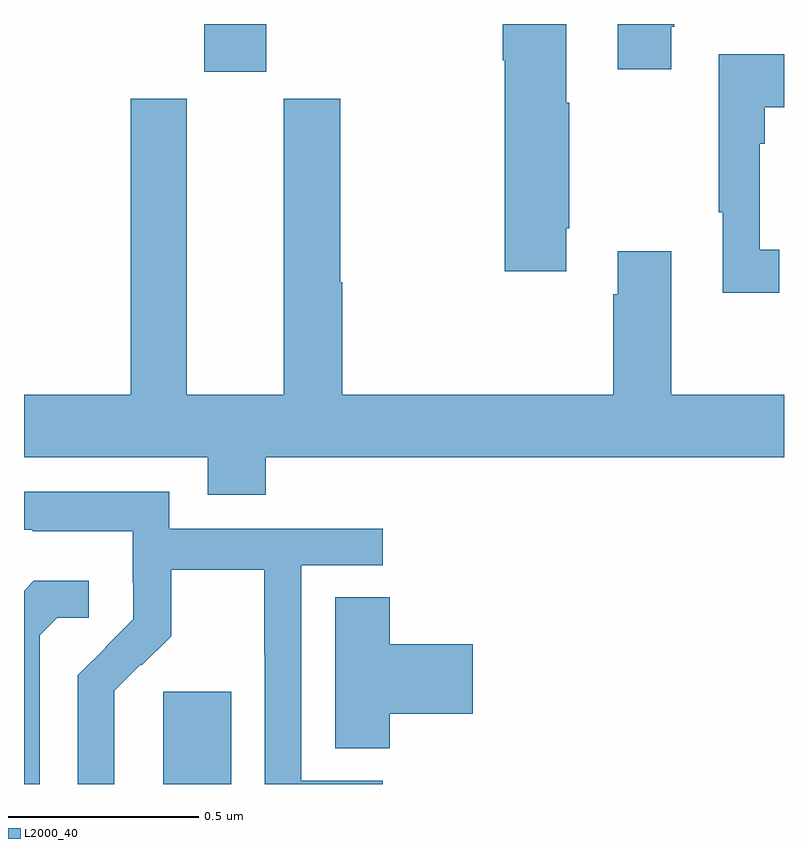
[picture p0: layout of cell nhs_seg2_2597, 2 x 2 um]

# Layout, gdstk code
import gdstk
lib = gdstk.Library(unit=1e-6, precision=1e-09)
def R(c, l, rs):  # rectangles x0, y0, x1, y1
    for r in rs: c.add(gdstk.rectangle(r[:2], r[2:], *l))
def P(c, l, *ps):  # polygons
    for p in ps: c.add(gdstk.Polygon(p, *l))
L2000_40 = (2000, 40)

nhs_seg2_2597 = lib.new_cell('nhs_seg2_2597')
R(nhs_seg2_2597, L2000_40, [(143.366,622.8,143.545,623.043), (143.474,624.675,143.638,624.8)])
P(nhs_seg2_2597, L2000_40, [(144.703,624.793),(144.711,624.793),(144.711,624.8),(144.563,624.8),(144.563,624.681),(144.703,624.681)],
  [(144.427,624.262),(144.435,624.262),(144.435,624.593),(144.427,624.593),(144.427,624.8),(144.26,624.8),(144.26,624.704),(144.265,624.704),(144.265,624.15),(144.427,624.15)],
  [(144.988,624.206),(144.936,624.206),(144.936,624.485),(144.949,624.485),(144.949,624.581),(145,624.581),(145,624.721),(144.828,624.721),(144.828,624.305),(144.839,624.305),(144.839,624.093),(144.988,624.093)],
  [(143.636,623.66),(145,623.66),(145,623.824),(144.703,623.824),(144.703,624.202),(144.563,624.202),(144.563,624.089),(144.551,624.089),(144.551,623.824),(143.837,623.824),(143.837,624.12),(143.832,624.12),(143.832,624.603),(143.684,624.603),(143.684,623.824),(143.428,623.824),(143.428,624.603),(143.281,624.603),(143.281,623.824),(143,623.824),(143,623.66),(143.483,623.66),(143.483,623.561),(143.636,623.561)],
  [(143.238,622.922),(143.237,622.922),(143.237,623.045),(143.307,623.115),(143.31,623.112),(143.387,623.189),(143.387,623.364),(143.632,623.364),(143.632,623.14),(143.634,623.14),(143.634,622.8),(143.944,622.8),(143.944,622.809),(143.73,622.809),(143.73,623.376),(143.944,623.376),(143.944,623.472),(143.382,623.472),(143.382,623.569),(143,623.569),(143,623.469),(143.023,623.469),(143.023,623.465),(143.286,623.465),(143.286,623.331),(143.288,623.331),(143.288,623.234),(143.214,623.16),(143.215,623.159),(143.142,623.086),(143.142,622.8),(143.238,622.8)],
  [(143.041,623.191),(143.088,623.238),(143.17,623.238),(143.17,623.335),(143.026,623.335),(143,623.309),(143,622.8),(143.041,622.8)],
  [(143.963,622.985),(144.181,622.985),(144.181,623.168),(143.963,623.168),(143.963,623.291),(143.819,623.291),(143.819,622.894),(143.963,622.894)])

lib.write_gds('nhs_seg2_2597.gds')
